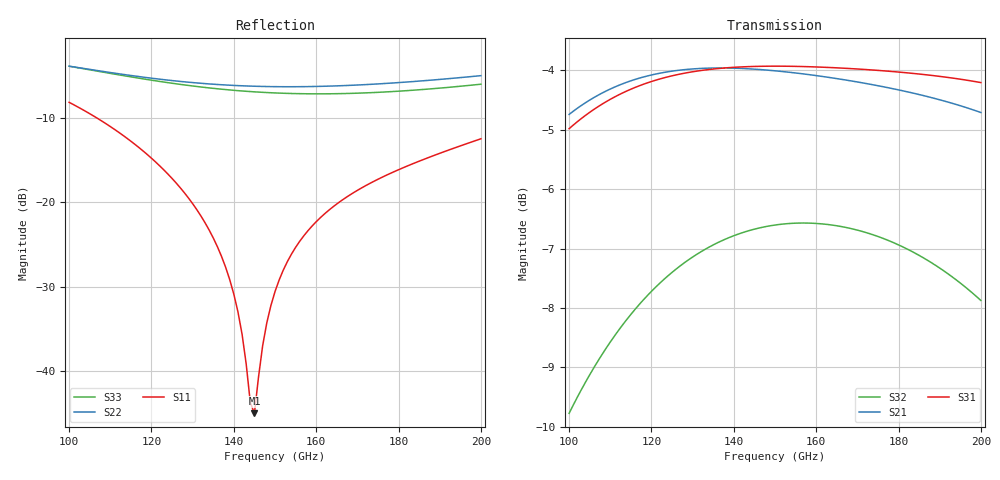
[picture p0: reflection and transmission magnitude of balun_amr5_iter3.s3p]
#  GHZ S DB R 50
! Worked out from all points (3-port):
!   101 points, 100 GHz to 200 GHz, reference 50 ohm
!   strongest paths, dB at 100 GHz, 125 GHz, 150 GHz, 175 GHz, 200 GHz:
!     S31: -5.0, -4.1, -3.9, -4.0, -4.2
!     S21: -4.7, -4.0, -4.0, -4.3, -4.7
!     S32: -9.8, -7.4, -6.6, -6.8, -7.9
!   lowest |S11| = -45.0 dB at 145 GHz (marker M1), VSWR 1.01, Z = 49.4 + j0.0224 ohm
!   |S11| at or under -10 dB: 106.6 GHz to end of sweep
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100  -8.20 124.3  -4.74 -13.5  -4.98 162.9
     -4.74 -13.5  -3.93 59.1  -9.78 89.5
     -4.98 162.9  -9.78 89.5  -3.93 49.6
120  -14.82 96.0  -4.08 -44.3  -4.19 130.3
     -4.08 -44.3  -5.35 41.9  -7.72 59.7
     -4.19 130.3  -7.72 59.7  -5.58 29.6
133  -22.44 83.2  -3.96 -62.5  -3.99 111.0
     -3.96 -62.5  -5.99 32.7  -7.01 41.8
     -3.99 111.0  -7.01 41.8  -6.44 19.0
140  -30.90 82.8  -3.96 -71.8  -3.95 101.2
     -3.96 -71.8  -6.20 27.9  -6.78 32.6
     -3.95 101.2  -6.78 32.6  -6.78 13.8
145  -45.00 177.7  -3.98 -78.3  -3.93 94.3
     -3.98 -78.3  -6.30 24.6  -6.67 26.2
     -3.93 94.3  -6.67 26.2  -6.96 10.1
147  -37.01 -136.1  -3.99 -80.8  -3.93 91.6
     -3.99 -80.8  -6.32 23.2  -6.64 23.7
     -3.93 91.6  -6.64 23.7  -7.02 8.7
150  -30.60 -126.9  -4.01 -84.6  -3.93 87.6
     -4.01 -84.6  -6.35 21.2  -6.60 19.9
     -3.93 87.6  -6.60 19.9  -7.09 6.6
156  -24.65 -126.2  -4.05 -92.1  -3.93 79.6
     -4.05 -92.1  -6.35 16.9  -6.57 12.5
     -3.93 79.6  -6.57 12.5  -7.18 2.2
165  -20.23 -130.1  -4.14 -103.1  -3.96 68.0
     -4.14 -103.1  -6.26 10.3  -6.62 1.5
     -3.96 68.0  -6.62 1.5  -7.18 -4.5
200  -12.52 -148.1  -4.71 -145.7  -4.21 22.9
     -4.71 -145.7  -5.05 -20.8  -7.88 -40.8
     -4.21 22.9  -7.88 -40.8  -6.06 -34.9
